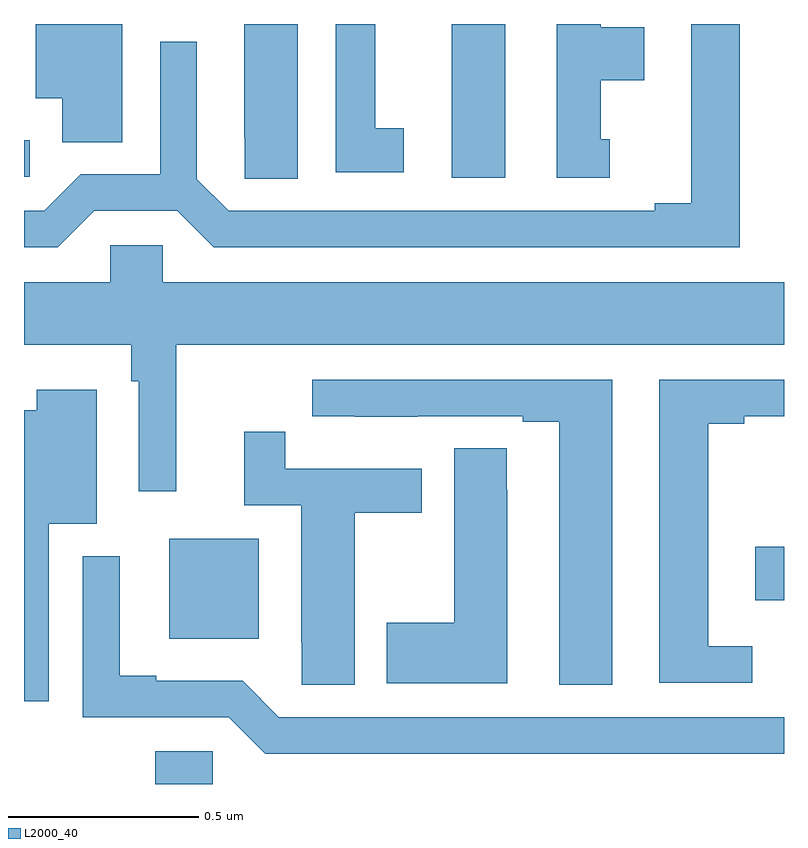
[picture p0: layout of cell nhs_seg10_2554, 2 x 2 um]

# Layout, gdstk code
import gdstk
lib = gdstk.Library(unit=1e-6, precision=1e-09)
def R(c, l, rs):  # rectangles x0, y0, x1, y1
    for r in rs: c.add(gdstk.rectangle(r[:2], r[2:], *l))
def P(c, l, *ps):  # polygons
    for p in ps: c.add(gdstk.Polygon(p, *l))
L2000_40 = (2000, 40)

nhs_seg10_2554 = lib.new_cell('nhs_seg10_2554')
R(nhs_seg10_2554, L2000_40, [(142.346,1292.5,142.497,1292.586), (142.382,1292.882,142.618,1293.145), (143.924,1292.984,144,1293.124), (143.126,1294.095,143.266,1294.5), (142,1294.098,142.015,1294.194)])
P(nhs_seg10_2554, L2000_40, [(142.185,1294.008),(142.403,1294.008),(142.499,1293.912),(143.884,1293.912),(143.884,1294.5),(143.756,1294.5),(143.756,1294.028),(143.66,1294.028),(143.66,1294.008),(142.539,1294.008),(142.455,1294.092),(142.455,1294.453),(142.359,1294.453),(142.359,1294.104),(142.149,1294.104),(142.053,1294.008),(142,1294.008),(142,1293.912),(142.089,1293.912)],
  [(143.542,1294.197),(143.518,1294.197),(143.518,1294.352),(143.632,1294.352),(143.632,1294.492),(143.518,1294.492),(143.518,1294.5),(143.402,1294.5),(143.402,1294.095),(143.542,1294.095)],
  [(142.258,1294.5),(142.031,1294.5),(142.031,1294.304),(142.1,1294.304),(142.1,1294.189),(142.258,1294.189)],
  [(142.72,1294.5),(142.58,1294.5),(142.58,1294.201),(142.581,1294.201),(142.581,1294.093),(142.72,1294.093)],
  [(142.999,1294.226),(142.924,1294.226),(142.924,1294.5),(142.82,1294.5),(142.82,1294.11),(142.999,1294.11)],
  [(142.4,1293.656),(144,1293.656),(144,1293.82),(142.365,1293.82),(142.365,1293.918),(142.227,1293.918),(142.227,1293.82),(142,1293.82),(142,1293.656),(142.282,1293.656),(142.282,1293.56),(142.302,1293.56),(142.302,1293.27),(142.4,1293.27)],
  [(143.917,1292.862),(143.8,1292.862),(143.8,1293.448),(143.896,1293.448),(143.896,1293.468),(144,1293.468),(144,1293.564),(143.672,1293.564),(143.672,1292.766),(143.917,1292.766)],
  [(143.548,1293.564),(142.758,1293.564),(142.758,1293.468),(142.87,1293.468),(142.87,1293.467),(143.036,1293.467),(143.036,1293.468),(143.312,1293.468),(143.312,1293.453),(143.408,1293.453),(143.408,1292.761),(143.548,1292.761)],
  [(142.065,1293.185),(142.192,1293.185),(142.192,1293.538),(142.034,1293.538),(142.034,1293.484),(142,1293.484),(142,1292.718),(142.065,1292.718)],
  [(142.87,1293.214),(143.047,1293.214),(143.047,1293.33),(142.688,1293.33),(142.688,1293.427),(142.58,1293.427),(142.58,1293.234),(142.73,1293.234),(142.73,1292.872),(142.731,1292.872),(142.731,1292.761),(142.87,1292.761)],
  [(143.272,1293.275),(143.271,1293.275),(143.271,1293.383),(143.132,1293.383),(143.132,1292.925),(142.955,1292.925),(142.955,1292.765),(143.272,1292.765)],
  [(144,1292.676),(142.671,1292.676),(142.575,1292.772),(142.348,1292.772),(142.348,1292.785),(142.252,1292.785),(142.252,1293.1),(142.155,1293.1),(142.155,1292.676),(142.539,1292.676),(142.635,1292.58),(144,1292.58)])

lib.write_gds('nhs_seg10_2554.gds')
